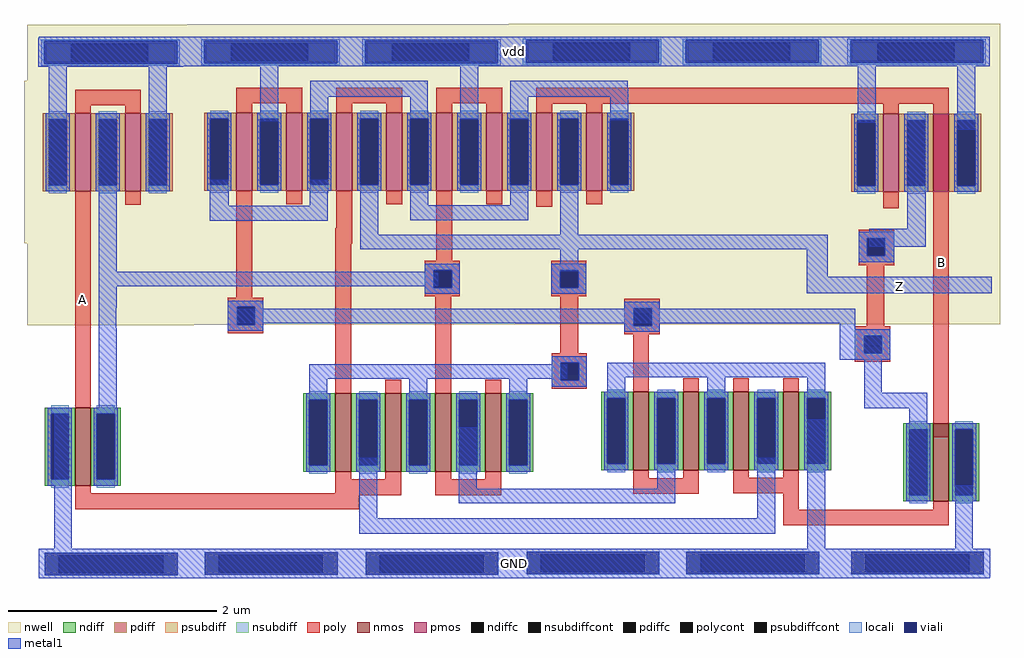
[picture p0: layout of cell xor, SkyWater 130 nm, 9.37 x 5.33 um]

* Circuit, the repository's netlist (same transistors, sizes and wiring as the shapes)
** sch_path: /foss/designs/sch/xor.sch
**.subckt xor vdd Z A B vss
*.iopin A
*.iopin B
*.iopin vdd
*.iopin vss
*.iopin Z
XM0 net1 Bb vdd vdd sky130_fd_pr__pfet_01v8 L=0.15 W=1.5 nf=1 ad='int((nf+1)/2) * W/nf * 0.29' as='int((nf+2)/2) * W/nf * 0.29' pd='2*int((nf+1)/2) * (W/nf + 0.29)'
+ ps='2*int((nf+2)/2) * (W/nf + 0.29)' nrd='0.29 / W' nrs='0.29 / W' sa=0 sb=0 sd=0 mult=1 m=1
XM1 net1 Ab vdd vdd sky130_fd_pr__pfet_01v8 L=0.15 W=1.5 nf=1 ad='int((nf+1)/2) * W/nf * 0.29' as='int((nf+2)/2) * W/nf * 0.29' pd='2*int((nf+1)/2) * (W/nf + 0.29)'
+ ps='2*int((nf+2)/2) * (W/nf + 0.29)' nrd='0.29 / W' nrs='0.29 / W' sa=0 sb=0 sd=0 mult=1 m=1
XM2 Z A net1 vdd sky130_fd_pr__pfet_01v8 L=0.15 W=1.5 nf=1 ad='int((nf+1)/2) * W/nf * 0.29' as='int((nf+2)/2) * W/nf * 0.29' pd='2*int((nf+1)/2) * (W/nf + 0.29)'
+ ps='2*int((nf+2)/2) * (W/nf + 0.29)' nrd='0.29 / W' nrs='0.29 / W' sa=0 sb=0 sd=0 mult=1 m=1
XM3 Z B net1 vdd sky130_fd_pr__pfet_01v8 L=0.15 W=1.5 nf=1 ad='int((nf+1)/2) * W/nf * 0.29' as='int((nf+2)/2) * W/nf * 0.29' pd='2*int((nf+1)/2) * (W/nf + 0.29)'
+ ps='2*int((nf+2)/2) * (W/nf + 0.29)' nrd='0.29 / W' nrs='0.29 / W' sa=0 sb=0 sd=0 mult=1 m=1
XM4 Z Ab net2 vss sky130_fd_pr__nfet_01v8 L=0.15 W=1.5 nf=1 ad='int((nf+1)/2) * W/nf * 0.29' as='int((nf+2)/2) * W/nf * 0.29' pd='2*int((nf+1)/2) * (W/nf + 0.29)'
+ ps='2*int((nf+2)/2) * (W/nf + 0.29)' nrd='0.29 / W' nrs='0.29 / W' sa=0 sb=0 sd=0 mult=1 m=1
XM5 Z A net3 vss sky130_fd_pr__nfet_01v8 L=0.15 W=1.5 nf=1 ad='int((nf+1)/2) * W/nf * 0.29' as='int((nf+2)/2) * W/nf * 0.29' pd='2*int((nf+1)/2) * (W/nf + 0.29)'
+ ps='2*int((nf+2)/2) * (W/nf + 0.29)' nrd='0.29 / W' nrs='0.29 / W' sa=0 sb=0 sd=0 mult=1 m=1
XM6 net2 Bb vss vss sky130_fd_pr__nfet_01v8 L=0.15 W=1.5 nf=1 ad='int((nf+1)/2) * W/nf * 0.29' as='int((nf+2)/2) * W/nf * 0.29' pd='2*int((nf+1)/2) * (W/nf + 0.29)'
+ ps='2*int((nf+2)/2) * (W/nf + 0.29)' nrd='0.29 / W' nrs='0.29 / W' sa=0 sb=0 sd=0 mult=1 m=1
XM7 net3 B vss vss sky130_fd_pr__nfet_01v8 L=0.15 W=1.5 nf=1 ad='int((nf+1)/2) * W/nf * 0.29' as='int((nf+2)/2) * W/nf * 0.29' pd='2*int((nf+1)/2) * (W/nf + 0.29)'
+ ps='2*int((nf+2)/2) * (W/nf + 0.29)' nrd='0.29 / W' nrs='0.29 / W' sa=0 sb=0 sd=0 mult=1 m=1
XM9 Ab A vss vss sky130_fd_pr__nfet_01v8 L=0.15 W=0.75 nf=1 ad='int((nf+1)/2) * W/nf * 0.29' as='int((nf+2)/2) * W/nf * 0.29' pd='2*int((nf+1)/2) * (W/nf + 0.29)'
+ ps='2*int((nf+2)/2) * (W/nf + 0.29)' nrd='0.29 / W' nrs='0.29 / W' sa=0 sb=0 sd=0 mult=1 m=1
XM8 Ab A vdd vdd sky130_fd_pr__pfet_01v8 L=0.15 W=1.5 nf=1 ad='int((nf+1)/2) * W/nf * 0.29' as='int((nf+2)/2) * W/nf * 0.29' pd='2*int((nf+1)/2) * (W/nf + 0.29)'
+ ps='2*int((nf+2)/2) * (W/nf + 0.29)' nrd='0.29 / W' nrs='0.29 / W' sa=0 sb=0 sd=0 mult=1 m=1
XM11 Bb B vss vss sky130_fd_pr__nfet_01v8 L=0.15 W=0.75 nf=1 ad='int((nf+1)/2) * W/nf * 0.29' as='int((nf+2)/2) * W/nf * 0.29' pd='2*int((nf+1)/2) * (W/nf + 0.29)'
+ ps='2*int((nf+2)/2) * (W/nf + 0.29)' nrd='0.29 / W' nrs='0.29 / W' sa=0 sb=0 sd=0 mult=1 m=1
XM10 Bb B vdd vdd sky130_fd_pr__pfet_01v8 L=0.15 W=1.5 nf=1 ad='int((nf+1)/2) * W/nf * 0.29' as='int((nf+2)/2) * W/nf * 0.29' pd='2*int((nf+1)/2) * (W/nf + 0.29)'
+ ps='2*int((nf+2)/2) * (W/nf + 0.29)' nrd='0.29 / W' nrs='0.29 / W' sa=0 sb=0 sd=0 mult=1 m=1
**.ends
.end

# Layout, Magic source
magic
tech sky130A
magscale 1 2
<< poly >>
rect -225 921 -99 951
rect 85 925 211 955
rect 277 925 403 955
rect 469 925 595 955
rect 661 924 1453 955
rect -225 355 -195 756
rect 85 506 115 757
rect 277 685 307 757
rect 275 655 307 685
rect 275 368 305 655
rect 469 591 499 736
rect 1296 618 1330 666
rect 1295 614 1330 618
rect 467 560 496 588
rect 467 394 497 560
rect 707 404 741 605
rect 467 388 496 394
rect 847 371 877 521
rect 1295 459 1329 614
rect 1423 284 1453 905
rect 1135 206 1165 221
rect 275 176 401 203
rect -225 173 401 176
rect 467 173 593 203
rect 847 175 973 205
rect 1039 176 1165 206
rect -225 146 321 173
rect 1135 145 1165 176
rect 1135 115 1453 145
<< metal1 >>
rect -295 996 1531 1053
rect -275 768 -241 996
rect -179 602 -145 894
rect -83 768 -49 996
rect 131 891 165 996
rect 227 938 452 968
rect 227 895 261 938
rect 419 896 452 938
rect 515 894 549 996
rect 611 955 836 968
rect 611 938 837 955
rect 611 894 645 938
rect 803 893 837 938
rect 1278 888 1312 996
rect 34 728 70 778
rect 226 728 260 778
rect 34 700 260 728
rect 323 673 357 768
rect 419 729 453 769
rect 611 729 645 769
rect 419 701 645 729
rect 707 673 741 769
rect 1373 684 1408 893
rect 1469 874 1503 996
rect 323 645 1220 673
rect 1300 650 1408 684
rect 707 603 741 645
rect -179 600 464 602
rect -179 574 472 600
rect 1180 592 1220 645
rect -179 533 -145 574
rect 1180 560 1535 592
rect -179 493 -146 533
rect 68 503 1273 531
rect -265 70 -231 331
rect -179 329 -145 493
rect 1243 467 1273 503
rect 1290 467 1324 479
rect 1243 433 1334 467
rect 225 396 720 424
rect 797 399 1215 427
rect 225 356 259 396
rect 417 356 451 396
rect 609 356 643 396
rect 797 359 831 399
rect 989 359 1023 399
rect 1181 359 1215 399
rect 1290 369 1324 433
rect 1290 340 1411 369
rect 321 128 355 245
rect 512 185 546 303
rect 893 185 927 230
rect 512 157 927 185
rect 1085 128 1119 245
rect 321 99 1119 128
rect 1181 70 1215 318
rect 1377 173 1411 340
rect 1465 70 1499 192
rect -295 13 1531 70
use grid  grid_0 ../grid
transform 1 0 51 0 1 24
box -61 -10 259 1053
use grid  grid_1 ../grid
transform 1 0 360 0 1 24
box -61 -10 259 1053
use grid  grid_2 ../grid
transform 1 0 669 0 1 25
box -61 -10 259 1053
use grid  grid_3 ../grid
transform 1 0 976 0 1 25
box -61 -10 259 1053
use grid  grid_4 ../grid
transform 1 0 1292 0 1 25
box -61 -10 259 1053
use grid  grid_5 ../grid
transform 1 0 -256 0 1 23
box -61 -10 259 1053
use sky130_fd_pr__nfet_01v8_4AWVGD  sky130_fd_pr__nfet_01v8_4AWVGD_0
transform 1 0 434 0 1 293
box -221 -101 221 101
use sky130_fd_pr__nfet_01v8_4AWVGD  sky130_fd_pr__nfet_01v8_4AWVGD_1
transform 1 0 1006 0 1 296
box -221 -101 221 101
use sky130_fd_pr__nfet_01v8_NDWVGB  sky130_fd_pr__nfet_01v8_NDWVGB_0
transform 1 0 1438 0 1 236
box -73 -101 73 101
use sky130_fd_pr__nfet_01v8_NDWVGB  sky130_fd_pr__nfet_01v8_NDWVGB_1
transform 1 0 -210 0 1 266
box -73 -101 73 101
use sky130_fd_pr__pfet_01v8_52C9FB  sky130_fd_pr__pfet_01v8_52C9FB_0
transform 1 0 1390 0 1 830
box -161 -175 161 175
use sky130_fd_pr__pfet_01v8_52C9FB  sky130_fd_pr__pfet_01v8_52C9FB_1
transform 1 0 -162 0 1 831
box -161 -175 161 175
use sky130_fd_pr__pfet_01v8_52LH9B  sky130_fd_pr__pfet_01v8_52LH9B_0
transform 1 0 436 0 1 832
box -449 -175 449 175
use via_m1_p  via_m1_p_0 ../via_m1_p
transform 0 1 446 -1 0 623
box 0 0 68 68
use via_m1_p  via_m1_p_1 ../via_m1_p
transform 0 1 830 -1 0 550
box 0 0 68 68
use via_m1_p  via_m1_p_2 ../via_m1_p
transform 0 1 68 -1 0 552
box 0 0 68 68
use via_m1_p  via_m1_p_3 ../via_m1_p
transform 0 1 690 -1 0 445
box 0 0 68 68
use via_m1_p  via_m1_p_4 ../via_m1_p
transform 0 1 689 -1 0 623
box 0 0 68 68
use via_m1_p  via_m1_p_5 ../via_m1_p
transform 0 -1 1348 1 0 614
box 0 0 68 68
use via_m1_p  via_m1_p_6 ../via_m1_p
transform 0 1 1272 -1 0 497
box 0 0 68 68
<< labels >>
rlabel space -225 341 -195 756 1 A
rlabel space 1423 284 1453 955 1 B
rlabel metal1 -295 996 1531 1053 1 vdd
rlabel metal1 -295 13 1531 70 1 GND
rlabel space 1180 556 1535 592 1 Z
<< end >>

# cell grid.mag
magic
tech sky130A
magscale 1 2
<< nwell >>
rect -61 476 259 1053
<< psubdiff >>
rect -24 0 0 34
rect 200 0 224 34
<< nsubdiff >>
rect -25 1016 223 1017
rect -25 982 24 1016
rect 171 982 223 1016
rect -25 981 223 982
<< psubdiffcont >>
rect 0 0 200 34
<< nsubdiffcont >>
rect 24 982 171 1016
<< locali >>
rect -34 1021 232 1024
rect -34 978 -28 1021
rect 227 978 232 1021
rect -34 974 232 978
<< viali >>
rect -28 1016 227 1021
rect -28 982 24 1016
rect 24 982 171 1016
rect 171 982 227 1016
rect -28 978 227 982
rect -27 34 228 39
rect -27 0 0 34
rect 0 0 200 34
rect 200 0 228 34
rect -27 -4 228 0
<< metal1 >>
rect -40 1021 239 1027
rect -40 978 -28 1021
rect 227 978 239 1021
rect -40 972 239 978
rect -39 39 240 45
rect -39 -4 -27 39
rect 228 -4 240 39
rect -39 -10 240 -4
<< end >>

# cell sky130_fd_pr__nfet_01v8_4AWVGD: kit device sky130_fd_pr__nfet_01v8, w 0.75 l 0.150 m 1 nf 4 diffcov 100 polycov 100 guard 0 glc 0 grc 0 gtc 0 gbc 0 tbcov 100 rlcov 100 topc 0 botc 0 poverlap 0 doverlap 1 lmin 0.15 wmin 0.42 compatible {sky130_fd_pr__nfet_01v8 sky130_fd_pr__nfet_01v8_lvt sky130_fd_bs_flash__special_sonosfet_star sky130_fd_pr__nfet_g5v0d10v5 sky130_fd_pr__nfet_05v0_nvt sky130_fd_pr__nfet_03v3_nvt} full_metal 0 viasrc 100 viadrn 100 viagate 100 viagb 0 viagr 0 viagl 0 viagt 0

# cell sky130_fd_pr__nfet_01v8_NDWVGB: kit device sky130_fd_pr__nfet_01v8, w 0.75 l 0.150 m 1 nf 1 diffcov 100 polycov 100 guard 0 glc 0 grc 0 gtc 0 gbc 0 tbcov 100 rlcov 100 topc 0 botc 0 poverlap 0 doverlap 1 lmin 0.15 wmin 0.42 compatible {sky130_fd_pr__nfet_01v8 sky130_fd_pr__nfet_01v8_lvt sky130_fd_bs_flash__special_sonosfet_star sky130_fd_pr__nfet_g5v0d10v5 sky130_fd_pr__nfet_05v0_nvt sky130_fd_pr__nfet_03v3_nvt} full_metal 0 viasrc 100 viadrn 100 viagate 100 viagb 0 viagr 0 viagl 0 viagt 0

# cell sky130_fd_pr__pfet_01v8_52C9FB: kit device sky130_fd_pr__pfet_01v8, w 0.75 l 0.15 m 1 nf 2 diffcov 100 polycov 100 guard 0 glc 0 grc 0 gtc 0 gbc 0 tbcov 100 rlcov 100 topc 0 botc 0 poverlap 0 doverlap 1 lmin 0.15 wmin 0.42 compatible {sky130_fd_pr__pfet_01v8 sky130_fd_pr__pfet_01v8_lvt sky130_fd_pr__pfet_01v8_hvt sky130_fd_pr__pfet_g5v0d10v5} full_metal 0 viasrc 100 viadrn 100 viagate 100 viagb 0 viagr 0 viagl 0 viagt 0

# cell sky130_fd_pr__pfet_01v8_52LH9B: kit device sky130_fd_pr__pfet_01v8, w 0.75 l 0.15 m 1 nf 8 diffcov 100 polycov 100 guard 0 glc 0 grc 0 gtc 0 gbc 0 tbcov 100 rlcov 100 topc 0 botc 0 poverlap 0 doverlap 1 lmin 0.15 wmin 0.42 compatible {sky130_fd_pr__pfet_01v8 sky130_fd_pr__pfet_01v8_lvt sky130_fd_pr__pfet_01v8_hvt sky130_fd_pr__pfet_g5v0d10v5} full_metal 0 viasrc 100 viadrn 100 viagate 100 viagb 0 viagr 0 viagl 0 viagt 0

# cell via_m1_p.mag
magic
tech sky130A
<< poly >>
rect 0 26 34 34
rect 0 9 9 26
rect 26 9 34 26
rect 0 0 34 9
<< polycont >>
rect 9 9 26 26
<< locali >>
rect 3 26 32 34
rect 3 9 9 26
rect 26 9 32 26
rect 3 0 32 9
<< viali >>
rect 9 9 26 26
<< metal1 >>
rect 3 26 32 34
rect 3 9 9 26
rect 26 9 32 26
rect 3 0 32 9
<< end >>
